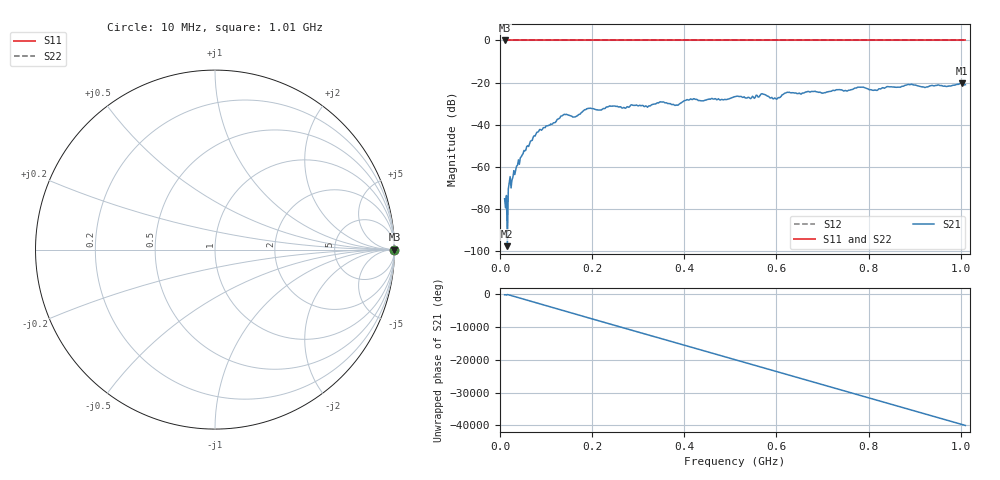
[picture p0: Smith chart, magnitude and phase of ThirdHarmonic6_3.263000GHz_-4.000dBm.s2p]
! 8/17/2025 10:04:24 AM
! C:\ANRITSUVNA\TEMP\TEMP.S2P
! CHANNEL.1
! TR.MEASUREMENT
! RAW.DATA
! RF.CORRECTION.OFF
! AVERAGING.OFF
! IF.BANDWIDTH: 5KHZ
! SWEEPTYPE:  FREQ.SWEEP(Linear)
! Reference Plane Port Info
! PORT:  PORT1  PORT2
! DISTANCE:  0  m  0  m
! TIME:  0  s  0  s
! PHASE.OFFSET:  0  deg.  0  deg.
! LOSS:  0  dB  0  dB
! REF.LOSS:  0  dB  0  dB
! REF.FREQ:  0  Hz  0  Hz
! Power Info
! POWER:  -20  dBm  -20  dBm
! EFF.POWER:  -20  dBm  -20  dBm
! SOURCE.ATTEN:  0  dB  0  dB
! TEST.ATTEN:  0  dB  0  dB
# GHZ S RI R 50.0
! FREQ.GHZ  S11RE  S11IM  S21RE  S21IM  S12RE  S12IM  S22RE  S22IM
!; PortSelection: Port_12
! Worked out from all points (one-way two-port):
!   501 points, 10 MHz to 1.01 GHz, reference 50 ohm
!   highest |S21| = -20.28 dB at 1.002 GHz (marker M1); lowest = -97.6 dB at 16 MHz (marker M2)
!   lowest |S11| = 0.0 dB at 10 MHz (marker M3)
!   |S11| at or under -10 dB: nowhere
!   |S22| runs from 0.0 to 0.0 dB; largest |S21 - S12| = 1.1
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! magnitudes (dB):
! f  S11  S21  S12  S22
! 10 MHz  0.0  -75.1  0.0  0.0
! 12 MHz  0.0  -79.5  0.0  0.0
! 16 MHz  0.0  -97.6  0.0  0.0
! 22 MHz  0.0  -64.6  0.0  0.0
! 40 MHz  0.0  -56.7  0.0  0.0
! 82 MHz  0.0  -43.5  0.0  0.0
! 136 MHz  0.0  -35.6  0.0  0.0
! 162 MHz  0.0  -36.3  0.0  0.0
! 178 MHz  0.0  -34.0  0.0  0.0
! 192 MHz  0.0  -32.2  0.0  0.0
! 322 MHz  0.0  -31.3  0.0  0.0
! 344 MHz  0.0  -29.7  0.0  0.0
! 382 MHz  0.0  -30.7  0.0  0.0
! 410 MHz  0.0  -28.3  0.0  0.0
! 510 MHz  0.0  -26.7  0.0  0.0
! 570 MHz  0.0  -25.4  0.0  0.0
! 598 MHz  0.0  -27.5  0.0  0.0
! 624 MHz  0.0  -24.6  0.0  0.0
! 678 MHz  0.0  -24.2  0.0  0.0
! 844 MHz  0.0  -22.0  0.0  0.0
! 1.002 GHz  0.0  -20.3  0.0  0.0
! 1.01 GHz  0.0  -21.0  0.0  0.0
